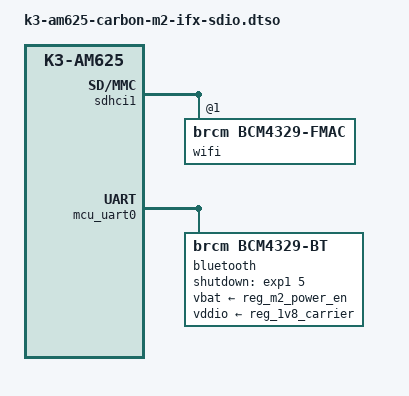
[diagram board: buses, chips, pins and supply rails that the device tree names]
// SPDX-License-Identifier: GPL-2.0
/*
 * M.2 SDIO LWBxx & IFxxx module
 *
 * Copyright (C) 2024 Ezurio LLC
 */

/dts-v1/;
/plugin/;

#include "k3-am625-carbon-m2-sdio.dtsi"

&sdhci1 { /* SDIO_A uSD / M.2_SDIO */
	#address-cells = <1>;
	#size-cells = <0>;

	wifi@1 {
		reg = <1>;
		compatible = "brcm,bcm4329-fmac";
	};
};

&mcu_uart0 {
	bluetooth {
		compatible = "brcm,bcm4329-bt";
		vbat-supply = <&reg_m2_power_en>;
		vddio-supply = <&reg_1v8_carrier>;
		brcm,requires-autobaud-mode;
		max-speed = <3000000>;
		shutdown-gpios = <&exp1 5 GPIO_ACTIVE_HIGH>;
	};
};
